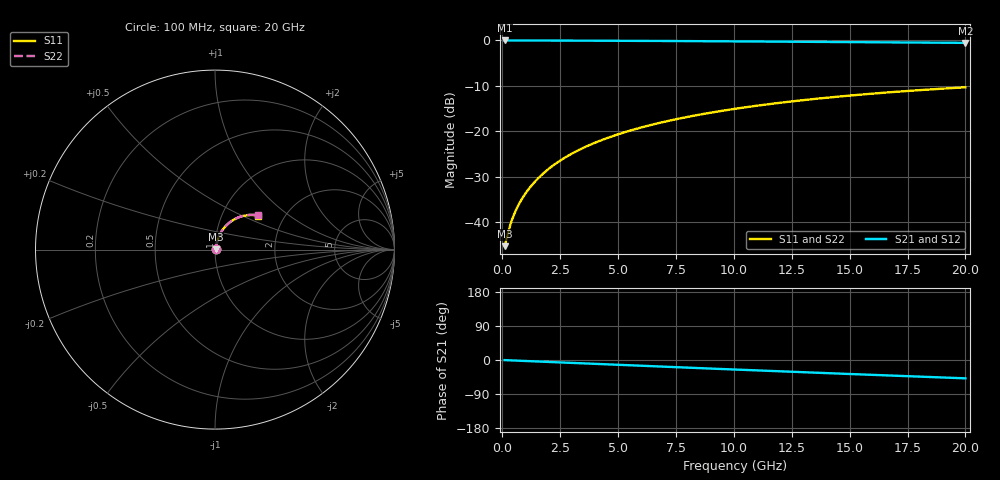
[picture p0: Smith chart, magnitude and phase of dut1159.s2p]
! Touchstone file exported from HFSS 2026.1.0
!  File:  C:/ffzhzh/LocalFiles/Ansys_Project_Files/temp_train_TMRDL_1159_1783162271_55132.aedt
!  Generated:  06:52:20 PM Jul  4, 2026
!  Design:  TMRDL
!  Project:  temp_train_TMRDL_1159_1783162271_55132
! Variables:
!  h_bsmrdl = 2um
!  h_ox = 20um
!  h_rdl = 5um
!  h_sub = 80um
!  h_tmrdl = 2.82um
!  h_tsv = 80um
!  h_via = 3um
!  l_bsmrdl = 300um
!  l_sub = 1195.39um
!  l_tmrdl = 795.39um
!  m_sub = 200um
!  pitch = 33.86um
!  r_tsv = 6um
!  s_tmrdl = 10um
!  w_bsmrdl = 18um
!  w_sub = 500um
!  w_tmrdl = 20.95um
!  x_tsv_center1 = 805.865um
!  x_tsv_center2 = 1123.865um
!  x_tsv_center3 = 1940.205um
!  x_tsv_center4 = 2258.205um
!  x_tsv_center5 = 3074.545um
!  x_tsv_center6 = 3392.545um
# GHz S MA R 50.000000
! Terminal data exported
! Port[1] = TM_RDL1_1_T1
! Port[2] = TM_RDL1_1_T2
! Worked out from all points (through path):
!   200 points, 100 MHz to 20 GHz, reference 50 ohm
!   highest |S21| = -0.04 dB at 100 MHz (marker M1); lowest = -0.6 dB at 20 GHz (marker M2)
!   group delay of S21, straight-line fit = 6.72 ps
!   lowest |S11| = -45.2 dB at 100 MHz (marker M3), VSWR 1.01, Z = 50.5 + j0.23 ohm
!   |S11| at or under -10 dB: start of sweep to end of sweep
!   |S22| runs from -45.2 to -10.3 dB; largest |S21 - S12| = 4e-15
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0.1  0.005475 24.6  0.995 -0.3  0.995 -0.3  0.005475 24.6
! Gamma 0 0 0 0
! Port Impedance 50 0 50 0
0.3  0.00858 49.6  0.9945 -0.8  0.9945 -0.8  0.00858 49.6
0.4  0.01033 55.1  0.9942 -1.1  0.9942 -1.1  0.01033 55.1
0.5  0.01208 58.9  0.9939 -1.3  0.9939 -1.3  0.01208 58.9
0.6  0.01381 61.7  0.9937 -1.6  0.9937 -1.6  0.01381 61.7
0.8  0.01727 65.8  0.9934 -2.1  0.9934 -2.1  0.01726 65.8
1  0.02074 68.5  0.9931 -2.6  0.9931 -2.6  0.02074 68.5
1.2  0.02426 70.5  0.9929 -3.1  0.9929 -3.1  0.02426 70.5
1.4  0.02781 71.9  0.9927 -3.6  0.9927 -3.6  0.02781 71.9
1.7  0.03319 73.3  0.9924 -4.4  0.9924 -4.4  0.03319 73.3
2.2  0.04224 74.4  0.9919 -5.7  0.9919 -5.7  0.04223 74.4
2.8  0.05314 74.6  0.9911 -7.2  0.9911 -7.2  0.05313 74.7
3.5  0.06583 74.2  0.99 -8.9  0.99 -8.9  0.06582 74.2
4.2  0.07843 73.2  0.9887 -10.7  0.9887 -10.7  0.07843 73.3
5  0.09268 71.9  0.987 -12.7  0.987 -12.7  0.09267 71.9
5.9  0.1084 70.1  0.9849 -15.0  0.9849 -15.0  0.1084 70.2
6.8  0.1239 68.2  0.9825 -17.2  0.9825 -17.2  0.1239 68.3
8.3  0.1489 64.9  0.9781 -20.9  0.9781 -20.9  0.1488 65.0
10.1  0.1774 60.8  0.9722 -25.3  0.9722 -25.3  0.1774 60.9
13.4  0.2256 53.2  0.9604 -33.2  0.9604 -33.2  0.2255 53.5
16.7  0.268 45.8  0.9482 -40.9  0.9482 -40.9  0.2679 46.1
20  0.3045 38.6  0.9363 -48.4  0.9363 -48.4  0.3044 38.9
